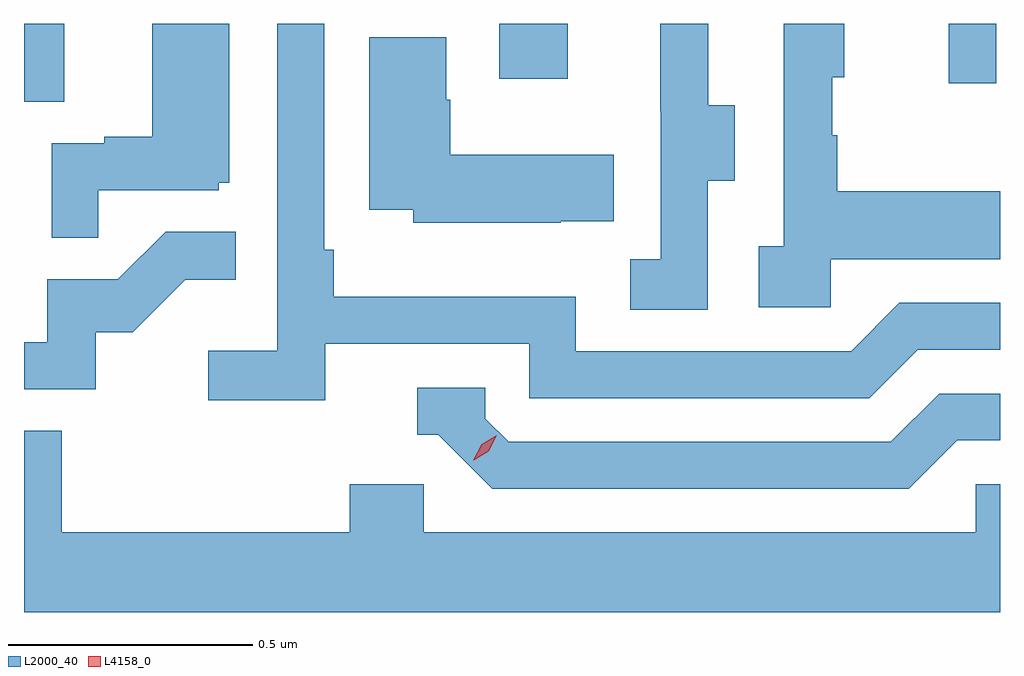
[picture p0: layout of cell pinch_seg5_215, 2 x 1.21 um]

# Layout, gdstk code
import gdstk
lib = gdstk.Library(unit=1e-6, precision=1e-09)
def R(c, l, rs):  # rectangles x0, y0, x1, y1
    for r in rs: c.add(gdstk.rectangle(r[:2], r[2:], *l))
def P(c, l, *ps):  # polygons
    for p in ps: c.add(gdstk.Polygon(p, *l))
L2000_40 = (2000, 40)
L4158_0 = (4158, 0)

pinch_seg5_215 = lib.new_cell('pinch_seg5_215')
R(pinch_seg5_215, L2000_40, [(1008.903,909.754,1008.985,909.914), (1010.798,909.792,1010.895,909.914), (1009.877,909.801,1010.017,909.914)])
P(pinch_seg5_215, L2000_40, [(1009.055,909.573),(1009.302,909.573),(1009.302,909.588),(1009.324,909.588),(1009.324,909.914),(1009.166,909.914),(1009.166,909.682),(1009.067,909.682),(1009.067,909.669),(1008.96,909.669),(1008.96,909.475),(1009.055,909.475)],
  [(1010.556,909.431),(1010.903,909.431),(1010.903,909.571),(1010.569,909.571),(1010.569,909.686),(1010.559,909.686),(1010.559,909.804),(1010.584,909.804),(1010.584,909.914),(1010.46,909.914),(1010.46,909.458),(1010.409,909.458),(1010.409,909.333),(1010.556,909.333)],
  [(1009.52,909.258),(1009.938,909.258),(1009.938,909.147),(1010.635,909.147),(1010.734,909.246),(1010.903,909.246),(1010.903,909.342),(1010.697,909.342),(1010.598,909.243),(1010.034,909.243),(1010.034,909.355),(1009.538,909.355),(1009.538,909.451),(1009.518,909.451),(1009.518,909.914),(1009.422,909.914),(1009.422,909.244),(1009.281,909.244),(1009.281,909.142),(1009.52,909.142)],
  [(1010.304,909.592),(1010.359,909.592),(1010.359,909.747),(1010.305,909.747),(1010.305,909.914),(1010.207,909.914),(1010.207,909.735),(1010.208,909.735),(1010.208,909.431),(1010.145,909.431),(1010.145,909.328),(1010.304,909.328)],
  [(1010.003,909.509),(1010.111,909.509),(1010.111,909.646),(1009.776,909.646),(1009.776,909.758),(1009.768,909.758),(1009.768,909.886),(1009.61,909.886),(1009.61,909.533),(1009.701,909.533),(1009.701,909.506),(1010.003,909.506)],
  [(1009.05,909.282),(1009.126,909.282),(1009.233,909.389),(1009.337,909.389),(1009.337,909.488),(1009.193,909.488),(1009.095,909.39),(1008.951,909.39),(1008.951,909.261),(1008.903,909.261),(1008.903,909.165),(1009.05,909.165)],
  [(1010.815,909.06),(1010.903,909.06),(1010.903,909.156),(1010.778,909.156),(1010.679,909.057),(1009.896,909.057),(1009.848,909.105),(1009.848,909.168),(1009.709,909.168),(1009.709,909.072),(1009.752,909.072),(1009.863,908.961),(1010.716,908.961)],
  [(1010.903,908.97),(1010.853,908.97),(1010.853,908.872),(1009.722,908.872),(1009.722,908.97),(1009.571,908.97),(1009.571,908.872),(1008.98,908.872),(1008.98,909.08),(1008.903,909.08),(1008.903,908.708),(1010.903,908.708)])
P(pinch_seg5_215, L4158_0, [(1009.824,909.019),(1009.824,909.02),(1009.841,909.052),(1009.872,909.071),(1009.872,909.071),(1009.872,909.071),(1009.855,909.038),(1009.825,909.019)])

lib.write_gds('pinch_seg5_215.gds')
